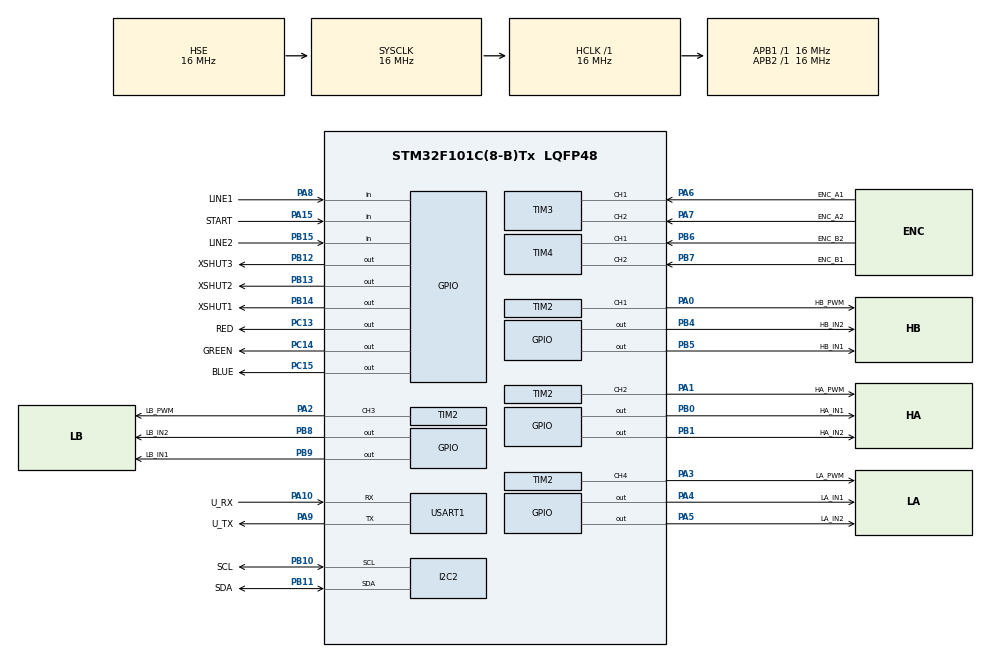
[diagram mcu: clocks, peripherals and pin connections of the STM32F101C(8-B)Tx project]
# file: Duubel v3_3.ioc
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Mcu.Family=STM32F1
Mcu.Name=STM32F101C(8-B)Tx
Mcu.Package=LQFP48
NVIC.PriorityGroup=NVIC_PRIORITYGROUP_4
PA0-WKUP.GPIO_Label=HB_PWM
PA0-WKUP.Signal=S_TIM2_CH1_ETR
PA1.GPIO_Label=HA_PWM
PA1.Signal=S_TIM2_CH2
PA10.GPIO_Label=U_RX
PA10.Mode=Asynchronous
PA10.Signal=USART1_RX
PA13.GPIO_Label=SWDIO
PA13.Mode=Trace_Asynchronous_SW
PA13.Signal=SYS_JTMS-SWDIO
PA14.GPIO_Label=SWCLK
PA14.Mode=Trace_Asynchronous_SW
PA14.Signal=SYS_JTCK-SWCLK
PA15.GPIO_Label=START
PA15.GPIO_PuPd=GPIO_PULLDOWN
PA15.Signal=GPIO_Input
PA2.GPIO_Label=LB_PWM
PA2.Signal=S_TIM2_CH3
PA3.GPIO_Label=LA_PWM
PA3.Signal=S_TIM2_CH4
PA4.GPIO_Label=LA_IN1
PA4.Signal=GPIO_Output
PA5.GPIO_Label=LA_IN2
PA5.Signal=GPIO_Output
PA6.GPIO_Label=ENC_A1
PA6.Signal=S_TIM3_CH1
PA7.GPIO_Label=ENC_A2
PA7.Signal=S_TIM3_CH2
PA8.GPIO_Label=LINE1
PA8.GPIO_PuPd=GPIO_PULLDOWN
PA8.Signal=GPIO_Input
PA9.GPIO_Label=U_TX
PA9.Mode=Asynchronous
PA9.Signal=USART1_TX
PB0.GPIO_Label=HA_IN1
PB0.Signal=GPIO_Output
PB1.GPIO_Label=HA_IN2
PB1.Signal=GPIO_Output
PB10.GPIO_Label=SCL
PB10.Mode=I2C
PB10.Signal=I2C2_SCL
PB11.GPIO_Label=SDA
PB11.Mode=I2C
PB11.Signal=I2C2_SDA
PB12.GPIO_Label=XSHUT3
PB12.Signal=GPIO_Output
PB13.GPIO_Label=XSHUT2
PB13.Signal=GPIO_Output
PB14.GPIO_Label=XSHUT1
PB14.Signal=GPIO_Output
PB15.GPIO_Label=LINE2
PB15.GPIO_PuPd=GPIO_PULLDOWN
PB15.Signal=GPIO_Input
PB3.GPIO_Label=SWO
PB3.Mode=Trace_Asynchronous_SW
PB3.Signal=SYS_JTDO-TRACESWO
PB4.GPIO_Label=HB_IN2
PB4.Signal=GPIO_Output
PB5.GPIO_Label=HB_IN1
PB5.Signal=GPIO_Output
PB6.GPIO_Label=ENC_B2
PB6.Signal=S_TIM4_CH1
PB7.GPIO_Label=ENC_B1
PB7.Signal=S_TIM4_CH2
PB8.GPIO_Label=LB_IN2
PB8.Signal=GPIO_Output
PB9.GPIO_Label=LB_IN1
PB9.Signal=GPIO_Output
PC13-TAMPER-RTC.GPIO_Label=RED
PC13-TAMPER-RTC.Signal=GPIO_Output
PC14-OSC32_IN.GPIO_Label=GREEN
PC14-OSC32_IN.Signal=GPIO_Output
PC15-OSC32_OUT.GPIO_Label=BLUE
PC15-OSC32_OUT.Signal=GPIO_Output
PD0-OSC_IN.GPIO_Label=OSC_IN
PD0-OSC_IN.Mode=HSE-External-Oscillator
PD0-OSC_IN.Signal=RCC_OSC_IN
PD1-OSC_OUT.GPIO_Label=OSC_OUT
PD1-OSC_OUT.Mode=HSE-External-Oscillator
PD1-OSC_OUT.Signal=RCC_OSC_OUT
ProjectManager.HeapSize=0x200
ProjectManager.StackSize=0x400
ProjectManager.TargetToolchain=STM32CubeIDE
RCC.AHBFreq_Value=16000000
RCC.APB1Freq_Value=16000000
RCC.APB1TimFreq_Value=16000000
RCC.APB2Freq_Value=16000000
RCC.EnbaleCSS=true
RCC.HCLKFreq_Value=16000000
RCC.HSE_VALUE=16000000
RCC.SYSCLKFreq_VALUE=16000000
RCC.SYSCLKSource=RCC_SYSCLKSOURCE_HSE
SH.S_TIM2_CH1_ETR.0=TIM2_CH1,PWM Generation1 CH1
SH.S_TIM2_CH2.0=TIM2_CH2,PWM Generation2 CH2
SH.S_TIM2_CH3.0=TIM2_CH3,PWM Generation3 CH3
SH.S_TIM2_CH4.0=TIM2_CH4,PWM Generation4 CH4
SH.S_TIM3_CH1.0=TIM3_CH1,Encoder_Interface
SH.S_TIM3_CH2.0=TIM3_CH2,Encoder_Interface
SH.S_TIM4_CH1.0=TIM4_CH1,Encoder_Interface
SH.S_TIM4_CH2.0=TIM4_CH2,Encoder_Interface
TIM2.AutoReloadPreload=TIM_AUTORELOAD_PRELOAD_ENABLE
TIM2.Channel-PWM\ Generation1\ CH1=TIM_CHANNEL_1
TIM2.Channel-PWM\ Generation2\ CH2=TIM_CHANNEL_2
TIM2.Channel-PWM\ Generation3\ CH3=TIM_CHANNEL_3
TIM2.Channel-PWM\ Generation4\ CH4=TIM_CHANNEL_4
TIM2.Period=100-1
TIM3.EncoderMode=TIM_ENCODERMODE_TI12
TIM4.EncoderMode=TIM_ENCODERMODE_TI12
USART1.VirtualMode=VM_ASYNC
board=custom

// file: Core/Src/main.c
/* USER CODE BEGIN Header */
/**
  ******************************************************************************
  * @file           : main.c
  * @brief          : Main program body
  ******************************************************************************
  * @attention
  *
  * Copyright (c) 2024 STMicroelectronics.
  * All rights reserved.
  *
  * This software is licensed under terms that can be found in the LICENSE file
  * in the root directory of this software component.
  * If no LICENSE file comes with this software, it is provided AS-IS.
  *
  ******************************************************************************
  */
/* USER CODE END Header */
#include "main.h"
#include "i2c.h"
#include "tim.h"
#include "usart.h"
#include "gpio.h"

/* USER CODE BEGIN Includes */
#include "VL53L1X.h"
#include <stdio.h>
#include <string.h>
#include <stdlib.h>
/* USER CODE END Includes */

/* USER CODE BEGIN PTD */
typedef struct {
	int16_t velocity;
	int64_t position;
	uint32_t lastCounterValue;
} encoder;
/* USER CODE END PTD */

/* USER CODE BEGIN PM */

#define FORWARD 0
#define BACKWARD 1
#define LEFT 2
#define RIGHT 3

#define R_THRESH 200
#define M_THRESH 500
#define L_THRESH 200

#define Write HAL_GPIO_WritePin
#define Read HAL_GPIO_ReadPin
#define Delay HAL_Delay

/* USER CODE END PM */

/* USER CODE BEGIN PV */

// Sensor variables
VL53L1X left, middle, right;
VL53L1X* sensors[] = {&left, &middle, &right};
uint32_t distanceL, distanceM, distanceR;

// Encoder structs for the "legs"
encoder legA, legB;

// Variable to remember previous location of enemy
uint8_t previous = 0;

/* USER CODE END PV */

void SystemClock_Config(void);
/* USER CODE BEGIN PFP */

// Initializes the motors, sensors, LED and encoders to make things neater
void InitPeriph(void);

// Function i found on the net to update the encoder struct's position and velocity variables
void UpdateEncoder(encoder *encoderValue, TIM_HandleTypeDef *htim);

// Turning function
void Turn(uint8_t direction, uint16_t speed, uint16_t amount);

// Driving function
void Drive(uint8_t direction, uint16_t speed, uint16_t amount);

// Updates sensor variables in one neat little package
void GetDistances(void);

// Spins the hands at a given speed
void SpinHands(uint16_t speed);

// Stops the hands
void StopHands(void);

// Regulates the RGB led values (1 is off, 0 is on)
void LED(uint8_t red, uint8_t green, uint8_t blue);

// Writing function so that you can use printf() with UART
int _write(int file, char *ptr, int len);

/* USER CODE END PFP */

int main(void)
{

  /* MCU Configuration--------------------------------------------------------*/

  /* Reset of all peripherals, Initializes the Flash interface and the Systick. */
  HAL_Init();

  /* Configure the system clock */
  SystemClock_Config();

  /* Initialize all configured peripherals */
  MX_GPIO_Init();
  MX_I2C2_Init();
  MX_TIM2_Init();
  MX_TIM3_Init();
  MX_TIM4_Init();
  MX_USART1_UART_Init();
  /* USER CODE BEGIN 2 */
  InitPeriph();

  // Wait for start command
  LED(1, 0, 1);
  while (!Read(START_GPIO_Port, START_Pin)) {}
  LED(1, 1, 1);

  // Little jerk so that the arms can fall down into the active position
  Drive(FORWARD, 50, 100);
  Drive(BACKWARD, 50, 100);

  // Start the "weapon" spin
  SpinHands(50);

  /* USER CODE END 2 */

  /* Infinite loop */
  /* USER CODE BEGIN WHILE */
  while (1)
  {
	  if (!Read(START_GPIO_Port, START_Pin)) {
		  LED(0,1,1);
		  StopHands();
	  }
	  else {
beginning:
		  SpinHands(50);
		  GetDistances();

		  if (!Read(LINE1_GPIO_Port, LINE1_Pin)) {
			  Drive(BACKWARD, 50, 1000);
			  Turn(LEFT, 50, 1000);
			  goto beginning;
		  }
		  else if (!Read(LINE2_GPIO_Port, LINE2_Pin)) {
			  Drive(FORWARD, 50, 1000);
			  Turn(RIGHT, 50, 1000);
			  goto beginning;
		  }

		  if (distanceM < M_THRESH) {
			  LED(1, 0, 1); // Green
			  Drive(FORWARD, 50, 1000);
			  previous = 1;
		  }
		  if (distanceL < L_THRESH) {
			  LED(0, 1, 1); // Red
			  Turn(LEFT, 50, 1000);
			  previous = 2;
		  }
		  if (distanceR < R_THRESH){
			  LED(1, 1, 0); // Blue
			  Turn(RIGHT, 50, 1000);
			  previous = 3;
		  }
	   }
    /* USER CODE END WHILE */

  }
}

void SystemClock_Config(void)
{
  RCC_OscInitTypeDef RCC_OscInitStruct = {0};
  RCC_ClkInitTypeDef RCC_ClkInitStruct = {0};

  /** Initializes the RCC Oscillators according to the specified parameters
  * in the RCC_OscInitTypeDef structure.
  */
  RCC_OscInitStruct.OscillatorType = RCC_OSCILLATORTYPE_HSE;
  RCC_OscInitStruct.HSEState = RCC_HSE_ON;
  RCC_OscInitStruct.PLL.PLLState = RCC_PLL_NONE;
  if (HAL_RCC_OscConfig(&RCC_OscInitStruct) != HAL_OK)
  {
    Error_Handler();
  }

  /** Initializes the CPU, AHB and APB buses clocks
  */
  RCC_ClkInitStruct.ClockType = RCC_CLOCKTYPE_HCLK|RCC_CLOCKTYPE_SYSCLK
                              |RCC_CLOCKTYPE_PCLK1|RCC_CLOCKTYPE_PCLK2;
  RCC_ClkInitStruct.SYSCLKSource = RCC_SYSCLKSOURCE_HSE;
  RCC_ClkInitStruct.AHBCLKDivider = RCC_SYSCLK_DIV1;
  RCC_ClkInitStruct.APB1CLKDivider = RCC_HCLK_DIV1;
  RCC_ClkInitStruct.APB2CLKDivider = RCC_HCLK_DIV1;

  if (HAL_RCC_ClockConfig(&RCC_ClkInitStruct, FLASH_LATENCY_0) != HAL_OK)
  {
    Error_Handler();
  }

  /** Enables the Clock Security System
  */
  HAL_RCC_EnableCSS();
}

/* USER CODE BEGIN 4 */
/*
void HAL_GPIO_EXTI_Callback(uint16_t GPIO_Pin) {
	if (GPIO_Pin == GPIO_PIN_9) {
		LED(0, 0, 1);
		//StopHands();
		// Drive(FORWARD, 50, 50);
		Delay(500);
		//SpinHands();
		//LED(1,1,1);
	}
	if (GPIO_Pin == GPIO_PIN_15) {
		LED(1, 0, 0);
		//StopHands();
		// Drive(BACKWARD, 50, 50);
		Delay(500);
		//SpinHands();
		//LED(1,1,1);
	}
}*/

// Initializes all the required peripherals for Duubel V3
void InitPeriph(void) {
	// Motor PWM channels
	HAL_TIM_Base_Start(&htim2);
	HAL_TIM_PWM_Start(&htim2, TIM_CHANNEL_1);
	HAL_TIM_PWM_Start(&htim2, TIM_CHANNEL_2);
	HAL_TIM_PWM_Start(&htim2, TIM_CHANNEL_4);
	HAL_TIM_PWM_Start(&htim2, TIM_CHANNEL_3);

	__HAL_TIM_SetCompare(&htim2, TIM_CHANNEL_1, 0);
	__HAL_TIM_SetCompare(&htim2, TIM_CHANNEL_2, 0);
	__HAL_TIM_SetCompare(&htim2, TIM_CHANNEL_3, 0);
	__HAL_TIM_SetCompare(&htim2, TIM_CHANNEL_4, 0);

	// Hand motor direction
	Write(HA_IN1_GPIO_Port, HA_IN1_Pin, GPIO_PIN_RESET); //Right hand
	Write(HA_IN2_GPIO_Port, HA_IN2_Pin, GPIO_PIN_SET);

	Write(HB_IN1_GPIO_Port, HB_IN1_Pin, GPIO_PIN_RESET); //Left hand
	Write(HB_IN2_GPIO_Port, HB_IN2_Pin, GPIO_PIN_SET);

	// Motor encoders
	HAL_TIM_Encoder_Start(&htim3, TIM_CHANNEL_ALL);
	HAL_TIM_Encoder_Start(&htim4, TIM_CHANNEL_ALL);

	// TOF sensors
	TOF_InitStruct(&right, &hi2c2, 0x30, XSHUT1_GPIO_Port, XSHUT1_Pin);
	TOF_InitStruct(&left, &hi2c2, 0x32, XSHUT2_GPIO_Port, XSHUT2_Pin);
	TOF_InitStruct(&middle, &hi2c2, 0x34, XSHUT3_GPIO_Port, XSHUT3_Pin);
	TOF_BootMultipleSensors(sensors, 3);

	// Turn the debug LED completely off
	Write(RED_GPIO_Port, RED_Pin, 1);
	Write(BLUE_GPIO_Port, BLUE_Pin, 1);
	Write(GREEN_GPIO_Port, GREEN_Pin, 1);
}

// Updates encoder structs
void UpdateEncoder(encoder *encoderValue, TIM_HandleTypeDef *htim) {
	uint32_t temp_counter = __HAL_TIM_GET_COUNTER(htim);
	static uint8_t first_time = 0;
	if(!first_time) {
		encoderValue->velocity = 0;
		first_time = 1;
	}
	else {
		if(temp_counter == encoderValue ->lastCounterValue) {
			encoderValue->velocity = 0;
		}
		else if(temp_counter > encoderValue ->lastCounterValue) {
			if (__HAL_TIM_IS_TIM_COUNTING_DOWN(htim)) {
				encoderValue->velocity = -encoderValue->lastCounterValue - (__HAL_TIM_GET_AUTORELOAD(htim)-temp_counter);
			}
			else {
				encoderValue->velocity = temp_counter - encoderValue->lastCounterValue;
			}
		}
		else {
			if (__HAL_TIM_IS_TIM_COUNTING_DOWN(htim)) {
				encoderValue->velocity = temp_counter - encoderValue->lastCounterValue;
			}
			else {
				encoderValue->velocity = temp_counter + (__HAL_TIM_GET_AUTORELOAD(htim) - encoderValue->lastCounterValue);
			}
		}
	}
	encoderValue->position += encoderValue->velocity;
	encoderValue->lastCounterValue = temp_counter;
}

// Allows the robot to turn in place
void Turn(uint8_t direction, uint16_t speed, uint16_t amount) {
	int64_t previousA = legA.position;
	int64_t previousB = legB.position;

	if (direction == RIGHT) { // Turn Right
		// CW setup
		Write(LA_IN1_GPIO_Port, LA_IN1_Pin, GPIO_PIN_SET);
		Write(LA_IN2_GPIO_Port, LA_IN2_Pin, GPIO_PIN_RESET);

		// CCW setup
		Write(LB_IN1_GPIO_Port, LB_IN1_Pin, GPIO_PIN_SET);
		Write(LB_IN2_GPIO_Port, LB_IN2_Pin, GPIO_PIN_RESET);

		// Speed set
		__HAL_TIM_SetCompare(&htim2, TIM_CHANNEL_3, speed); // LB
		__HAL_TIM_SetCompare(&htim2, TIM_CHANNEL_4, speed); // LA

		while ((legA.position < previousA + amount) || (legB.position > previousB - amount)) {
			UpdateEncoder(&legA, &htim3);
			UpdateEncoder(&legB, &htim4);
		}

		// Speed reset
		__HAL_TIM_SetCompare(&htim2, TIM_CHANNEL_3, 0); // LB
		__HAL_TIM_SetCompare(&htim2, TIM_CHANNEL_4, 0); // LA
	}
	else { // Turn Left
		// CCW setup
		Write(LA_IN1_GPIO_Port, LA_IN1_Pin, GPIO_PIN_RESET);
		Write(LA_IN2_GPIO_Port, LA_IN2_Pin, GPIO_PIN_SET);

		// CW setup
		Write(LB_IN1_GPIO_Port, LB_IN1_Pin, GPIO_PIN_RESET);
		Write(LB_IN2_GPIO_Port, LB_IN2_Pin, GPIO_PIN_SET);

		// Speed set
		__HAL_TIM_SetCompare(&htim2, TIM_CHANNEL_3, speed); // HB
		__HAL_TIM_SetCompare(&htim2, TIM_CHANNEL_4, speed); // HA

		while ((legA.position > previousA - amount) || (legB.position < previousB + amount)) {
			UpdateEncoder(&legA, &htim3);
			UpdateEncoder(&legB, &htim4);
		}

		// Speed reset
		__HAL_TIM_SetCompare(&htim2, TIM_CHANNEL_3, 0); // HB
		__HAL_TIM_SetCompare(&htim2, TIM_CHANNEL_4, 0); // HA
	}
}

// Drives forward or backward the given amount
void Drive(uint8_t direction, uint16_t speed, uint16_t amount) {
	int64_t previousA = legA.position;
	int64_t previousB = legB.position;

	if (direction == FORWARD) { // Forward
		// CW setup
		Write(LA_IN1_GPIO_Port, LA_IN1_Pin, GPIO_PIN_SET);
		Write(LA_IN2_GPIO_Port, LA_IN2_Pin, GPIO_PIN_RESET);

		// CW setup
		Write(LB_IN1_GPIO_Port, LB_IN1_Pin, GPIO_PIN_RESET);
		Write(LB_IN2_GPIO_Port, LB_IN2_Pin, GPIO_PIN_SET);

		// Speed set
		__HAL_TIM_SetCompare(&htim2, TIM_CHANNEL_3, speed); // LB
		__HAL_TIM_SetCompare(&htim2, TIM_CHANNEL_4, speed); // LA

		while ((legA.position < previousA + amount) || (legB.position < previousB + amount)) {
			UpdateEncoder(&legA, &htim3);
			UpdateEncoder(&legB, &htim4);
		}

		// Speed reset
		__HAL_TIM_SetCompare(&htim2, TIM_CHANNEL_3, 0); // LB
		__HAL_TIM_SetCompare(&htim2, TIM_CHANNEL_4, 0); // LA
	}
	else { // Backward
		// CCW setup
		Write(LA_IN1_GPIO_Port, LA_IN1_Pin, GPIO_PIN_RESET);
		Write(LA_IN2_GPIO_Port, LA_IN2_Pin, GPIO_PIN_SET);

		// CCW setup
		Write(LB_IN1_GPIO_Port, LB_IN1_Pin, GPIO_PIN_SET);
		Write(LB_IN2_GPIO_Port, LB_IN2_Pin, GPIO_PIN_RESET);

		// Speed set
		__HAL_TIM_SetCompare(&htim2, TIM_CHANNEL_3, speed); // HB
		__HAL_TIM_SetCompare(&htim2, TIM_CHANNEL_4, speed); // HA

		while ((legA.position > previousA - amount) || (legB.position > previousB - amount)) {
			UpdateEncoder(&legA, &htim3);
			UpdateEncoder(&legB, &htim4);
		}

		// Speed reset
		__HAL_TIM_SetCompare(&htim2, TIM_CHANNEL_3, 0); // HB
		__HAL_TIM_SetCompare(&htim2, TIM_CHANNEL_4, 0); // HA
	}
}

// Updates all distances
void GetDistances(void) {
	distanceR = TOF_GetDistance(&right);
	distanceM = TOF_GetDistance(&middle);
	distanceL = TOF_GetDistance(&left);
}

int _write(int file, char* ptr, int len) {
	HAL_UART_Transmit(&huart1, ptr, len, 1000);
	return len;
}

void SpinHands(uint16_t speed) {
	__HAL_TIM_SetCompare(&htim2, TIM_CHANNEL_1, speed);
	__HAL_TIM_SetCompare(&htim2, TIM_CHANNEL_2, speed);
}

void StopHands(void) {
	__HAL_TIM_SetCompare(&htim2, TIM_CHANNEL_1, 0);
	__HAL_TIM_SetCompare(&htim2, TIM_CHANNEL_2, 0);
}

void LED(uint8_t red, uint8_t green, uint8_t blue) {
	Write(RED_GPIO_Port, RED_Pin, red);
	Write(GREEN_GPIO_Port, GREEN_Pin, green);
	Write(BLUE_GPIO_Port, BLUE_Pin, blue);
}
/* USER CODE END 4 */

void Error_Handler(void)
{
  __disable_irq();
  while (1)
  {
  }
}
